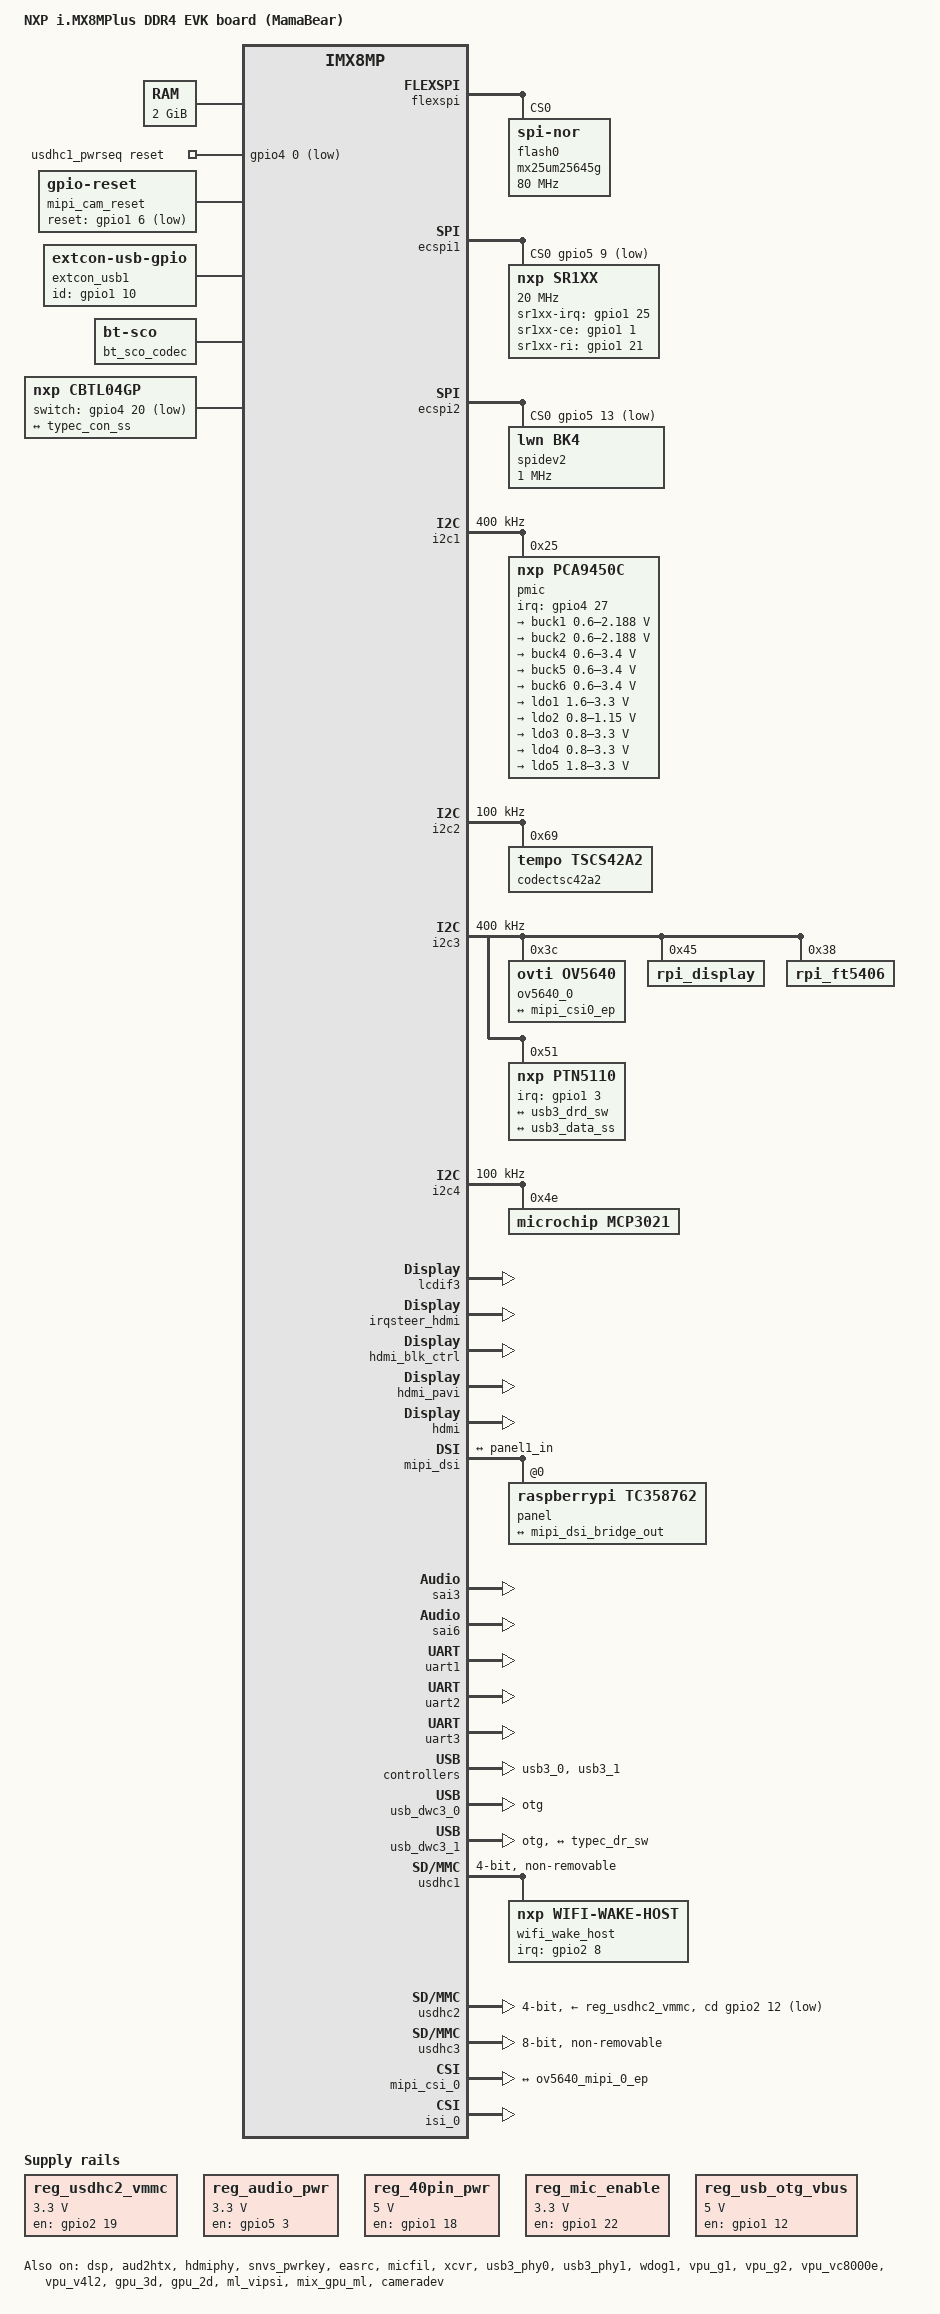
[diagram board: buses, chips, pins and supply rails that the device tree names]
// SPDX-License-Identifier: (GPL-2.0+ OR MIT)
/*
 * Copyright 2019 NXP
 * Copyright 2022 Future Electronics
 */

/dts-v1/;

#include <dt-bindings/usb/pd.h>
#include "imx8mp.dtsi"

/ {
	model = "NXP i.MX8MPlus DDR4 EVK board (MamaBear)";
	compatible = "fsl,imx8mp-evk", "fsl,imx8mp";

	chosen {
		stdout-path = &uart2;
	};

	memory@40000000 {
		device_type = "memory";
		reg = <0x0 0x40000000 0 0x80000000>;
	};


	reg_usdhc2_vmmc: regulator-usdhc2 {
		compatible = "regulator-fixed";
		pinctrl-names = "default";
		pinctrl-0 = <&pinctrl_reg_usdhc2_vmmc>;
		regulator-name = "VSD_3V3";
		regulator-min-microvolt = <3300000>;
		regulator-max-microvolt = <3300000>;
		gpio = <&gpio2 19 GPIO_ACTIVE_HIGH>;
		enable-active-high;
	};

//	reg_sd1_vmmc: sd1_regulator {
//		compatible = "regulator-fixed";
//		regulator-name = "WIFI_PWR_EN";
//		regulator-min-microvolt = <1800000>;
//		regulator-max-microvolt = <1800000>;
//		gpio = <&gpio3 6 GPIO_ACTIVE_HIGH>;
//		startup-delay-us = <100000>;
//		enable-active-high;
//		regulator-always-on;
//	};


	usdhc1_pwrseq: usdhc1_pwrseq {
		compatible = "mmc-pwrseq-simple";
//		pinctrl-names = "default";
//		pinctrl-0 = <&pinctrl_usdhc1_gpio>;
		reset-gpios = <&gpio4 0 GPIO_ACTIVE_LOW>;
		post-power-on-delay-ms = <80>;
	};
	
	reg_audio_pwr: regulator-audio-pwr {
		compatible = "regulator-fixed";
		regulator-name = "audio-pwr";
		regulator-min-microvolt = <3300000>;
		regulator-max-microvolt = <3300000>;
		gpio = <&gpio5 3 GPIO_ACTIVE_HIGH>;
		enable-active-high;
		regulator-always-on;
	};
	
	reg_40pin_pwr: regulator-40pin-pwr {
		compatible = "regulator-fixed";
		regulator-name = "40-pin-pwr";
		regulator-min-microvolt = <5000000>;
		regulator-max-microvolt = <5000000>;
		gpio = <&gpio1 18 GPIO_ACTIVE_HIGH>;
		enable-active-high;
		regulator-always-on;
	};

	reg_mic_enable: regulator-mic-enable {
		compatible = "regulator-fixed";
		regulator-name = "mic-enable";
	//	pinctrl-names = "default";
	//	pinctrl-0 = <&pinctrl_mic_enable>;
		regulator-min-microvolt = <3300000>;
		regulator-max-microvolt = <3300000>;
		gpio = <&gpio1 22 GPIO_ACTIVE_HIGH>;
		enable-active-high;
		regulator-always-on;
	};


//	bt_reg_on: regulator-bt-reg {
//		compatible = "regulator-fixed";
//		regulator-name = "BT_REG_ON";
//		regulator-min-microvolt = <1800000>;
//		regulator-max-microvolt = <1800000>;
//		gpio = <&gpio4 12 GPIO_ACTIVE_HIGH>;
//		startup-delay-us = <100>;
//		enable-active-high;
//		regulator-always-on;
//	}; 

//	modem_reset: modem-reset {
//		compatible = "gpio-reset";
//		reset-gpios = <&gpio4 12 GPIO_ACTIVE_LOW>;
//		reset-delay-us = <2000>;
//		reset-post-delay-ms = <40>;
//		#reset-cells = <0>;
//	};

	mipi_cam_reset: cam-reset {
		compatible = "gpio-reset";
		reset-gpios = <&gpio1 6 GPIO_ACTIVE_LOW>;
		reset-delay-us = <2000>;
		reset-post-delay-ms = <40>;
		#reset-cells = <0>;
	};

// TODO: get this set up for either xclk of mclk on the OV5640 to fix clocking issue.
//	 the clock on the digi module is 12MHz.  Need to determine if which one refers
//	 to the clock on the semsor module
//
//	ext_osc_12m: ext-osc-12m {
//		compatible = "fixed-clock";
//		#clock-cells = <0>;
//		clock-frequency = <12000000>;
//		clock-output-names = " "; //needs to be either xclk or mclk
//	};

	reg_usb_otg_vbus: regulator-usb-otg-vbus {
		compatible = "regulator-fixed";
		pinctrl-names = "default";
		pinctrl-0 = <&pinctrl_usb0_vbus>;
		regulator-name = "usb_otg_vbus";
		regulator-min-microvolt = <5000000>;
		regulator-max-microvolt = <5000000>;
		gpio = <&gpio1 12 GPIO_ACTIVE_HIGH>;
		enable-active-high;
	};
	
	extcon_usb1: extcon_usb1 {
		compatible = "linux,extcon-usb-gpio";
		pinctrl-names = "default";
		pinctrl-0 = <&pinctrl_extcon>;
		id-gpio = <&gpio1 10 GPIO_ACTIVE_HIGH>;
		status = "okay";
	};
	
//	reg_usb_c_vbus: regulator-usb-c-vbus {
//		compatible = "regulator-fixed";
//		pinctrl-names = "default";
//		pinctrl-0 = <&pinctrl_usb1_vbus>;
//		regulator-name = "usb_c_vbus";
//		regulator-min-microvolt = <5000000>;
//		regulator-max-microvolt = <5000000>;
//		gpio = <&gpio1 14 GPIO_ACTIVE_HIGH>;
//		enable-active-high;
//	};
	
	bt_sco_codec: bt_sco_codec {
		#sound-dai-cells = <1>;
		compatible = "linux,bt-sco";
	};

	sound-bt-sco {
		compatible = "simple-audio-card";
		simple-audio-card,name = "bt-sco-audio";
		simple-audio-card,format = "dsp_a";
		simple-audio-card,bitclock-inversion;
		simple-audio-card,frame-master = <&btcpu>;
		simple-audio-card,bitclock-master = <&btcpu>;

		btcpu: simple-audio-card,cpu {
			sound-dai = <&sai6>;
			dai-tdm-slot-num = <2>;
			dai-tdm-slot-width = <16>;
		};

		simple-audio-card,codec {
			sound-dai = <&bt_sco_codec 1>;
		};
	};

	sound {
		compatible = "simple-audio-card";
		simple-audio-card,name = "TSCS42A2-Sound-card";
		simple-audio-card,format = "i2s";
		simple-audio-card,bitclock-master = <&dailink0_master>;
		simple-audio-card,frame-master = <&dailink0_master>;
		simple-audio-card,widgets =
			"Speaker", "Speakers",
			"Headphone", "Headphones",
			"Microphone", "Analog Mic",
			"Microphone", "Digital Mic",
			"Line", "Line In";
		simple-audio-card,routing =
			"Headphones", "Headphone L",
			"Headphones", "Headphone R",
			"Speakers", "Speaker L",
			"Speakers", "Speaker R",
			"Line In 3 L", "Digital Mic",
			"Line In 3 R", "Digital Mic",
			"Digital Mic", "Digital Mic Enable",
			"Line In 1 L", "Analog Mic",
			"Line In 1 R", "Analog Mic",
			"Analog Mic", "Mic Bias",
			"Line In 2 L", "Line In",
			"Line In 2 R", "Line In";
		status = "okay";
		cpu_dai: simple-audio-card,cpu {
			sound-dai = <&sai3>;
			status = "okay";
		};
		dailink0_master: simple-audio-card,codec {
			sound-dai = <&codectsc42a2>;
	//		clocks = <&clk IMX8MP_CLK_SAI3>;
			clocks = <&audio_blk_ctrl IMX8MP_CLK_AUDIO_BLK_CTRL_SAI3_MCLK1>;
			status = "okay";
		};
	};

	sound-hdmi {
		compatible = "fsl,imx-audio-hdmi";
		model = "audio-hdmi";
		audio-cpu = <&aud2htx>;
		hdmi-out;
		constraint-rate = <44100>,
				<88200>,
				<176400>,
				<32000>,
				<48000>,
				<96000>,
				<192000>;
		status = "okay";
	};

	sound-micfil {
		compatible = "fsl,imx-audio-card";
		model = "imx-audio-micfil";
		pri-dai-link {
			link-name = "micfil hifi";
			format = "i2s";
			cpu {
				sound-dai = <&micfil>;
			};
		};
	};

	sound-xcvr {
		compatible = "fsl,imx-audio-card";
		model = "imx-audio-xcvr";
		pri-dai-link {
			link-name = "XCVR PCM";
			cpu {
				sound-dai = <&xcvr>;
			};
		};
	};

	cbtl04gp {
		compatible = "nxp,cbtl04gp";
		pinctrl-names = "default";
		pinctrl-0 = <&pinctrl_typec_mux>;
		switch-gpios = <&gpio4 20 GPIO_ACTIVE_LOW>;
		orientation-switch;

		port {
			usb3_data_ss: endpoint {
				remote-endpoint = <&typec_con_ss>;
			};
		};
	};
};

&{/power-domains} {
	/delete-node/ audiomix_pd;
};


&clk {
	assigned-clocks = <&clk IMX8MP_CLK_AUDIO_AHB>,
			  <&clk IMX8MP_CLK_AUDIO_AXI_SRC>,
			  <&clk IMX8MP_AUDIO_PLL1>,
			  <&clk IMX8MP_AUDIO_PLL2>,
			  <&clk IMX8MP_VIDEO_PLL1>;
	assigned-clock-parents = <&clk IMX8MP_SYS_PLL1_800M>,
				 <&clk IMX8MP_SYS_PLL3_OUT>;
	assigned-clock-rates = <400000000>,
			       <600000000>,
			       <393216000>,
			       <361267200>,
			       <1039500000>;
};

&{/reserved-memory} {
	linux,cma {
		size = <0 0x1e000000>;
		alloc-ranges = <0 0x40000000 0 0x80000000>;
	};
};

&flexspi {
	pinctrl-names = "default";
	pinctrl-0 = <&pinctrl_flexspi0>;
	status = "okay";

	flash0: mx25um25645g@0 {
		reg = <0>;
		#address-cells = <1>;
		#size-cells = <1>;
		compatible = "jedec,spi-nor";
		spi-max-frequency = <80000000>;
		spi-tx-bus-width = <1>;
		spi-rx-bus-width = <4>;
	};
};

&A53_0 {
	cpu-supply = <&buck2>;
};

&A53_1 {
	cpu-supply = <&buck2>;
};

&A53_2 {
	cpu-supply = <&buck2>;
};

&A53_3 {
	cpu-supply = <&buck2>;
};

&dsp {
	status = "okay";
};

&aud2htx {
	status = "okay";
};

&ecspi1 {
	#address-cells = <1>;
	#size-cells = <0>;
	fsl,spi-num-chipselects = <1>;
	pinctrl-names = "default";
	pinctrl-0 = <&pinctrl_ecspi1>;
	cs-gpios = <&gpio5 9 GPIO_ACTIVE_LOW>;
	status = "okay";

	sr1xx: sr1xx@0 {
		compatible = "nxp,sr1xx";
		reg = <0>;	/* CE0 */
		pinctrl-names = "default";
		pinctrl-0 = <&pinctrl_sr1xx>;
		nxp,sr1xx-irq-gpio = <&gpio1 25 0>;	//interrupt
		nxp,sr1xx-ce-gpio = <&gpio1 1 0>;	//UWB enable
		nxp,sr1xx-ri-gpio = <&gpio1 21 0>;	//read indicator
		spi-max-frequency = <20000000>;
        };
//  	spidev1: spidev@0 {
//		reg = <0>;
//		compatible = "lwn,bk4";
//		spi-max-frequency = <2000000>;
//	};
};

&ecspi2 {
	#address-cells = <1>;
	#size-cells = <0>;
	fsl,spi-num-chipselects = <1>;
	pinctrl-names = "default";
	pinctrl-0 = <&pinctrl_ecspi2>;
	cs-gpios = <&gpio5 13 GPIO_ACTIVE_LOW>;
	status = "okay";

	spidev2: spidev@0 {
		reg = <0>;
		compatible = "lwn,bk4";
		spi-max-frequency = <1000000>;
	};
   
};


&i2c1 {
	clock-frequency = <400000>;
	pinctrl-names = "default";
	pinctrl-0 = <&pinctrl_i2c1>;
	status = "okay";

	pmic@25 {
		compatible = "nxp,pca9450c";
		reg = <0x25>;
		pinctrl-names = "default";
		pinctrl-0 = <&pinctrl_pmic>;
		interrupt-parent = <&gpio4>;
		interrupts = <27 IRQ_TYPE_LEVEL_LOW>;

		regulators {
			buck1: BUCK1 {
				regulator-name = "BUCK1";
				regulator-min-microvolt = <600000>;
				regulator-max-microvolt = <2187500>;
				regulator-boot-on;
				regulator-always-on;
				regulator-ramp-delay = <3125>;
			};

			buck2: BUCK2 {
				regulator-name = "BUCK2";
				regulator-min-microvolt = <600000>;
				regulator-max-microvolt = <2187500>;
				regulator-boot-on;
				regulator-always-on;
				regulator-ramp-delay = <3125>;
				nxp,dvs-run-voltage = <950000>;
				nxp,dvs-standby-voltage = <850000>;
			};

			buck4: BUCK4{
				regulator-name = "BUCK4";
				regulator-min-microvolt = <600000>;
				regulator-max-microvolt = <3400000>;
				regulator-boot-on;
				regulator-always-on;
			};

			buck5: BUCK5{
				regulator-name = "BUCK5";
				regulator-min-microvolt = <600000>;
				regulator-max-microvolt = <3400000>;
				regulator-boot-on;
				regulator-always-on;
			};

			buck6: BUCK6 {
				regulator-name = "BUCK6";
				regulator-min-microvolt = <600000>;
				regulator-max-microvolt = <3400000>;
				regulator-boot-on;
				regulator-always-on;
			};

			ldo1: LDO1 {
				regulator-name = "LDO1";
				regulator-min-microvolt = <1600000>;
				regulator-max-microvolt = <3300000>;
				regulator-boot-on;
				regulator-always-on;
			};

			ldo2: LDO2 {
				regulator-name = "LDO2";
				regulator-min-microvolt = <800000>;
				regulator-max-microvolt = <1150000>;
				regulator-boot-on;
				regulator-always-on;
			};

			ldo3: LDO3 {
				regulator-name = "LDO3";
				regulator-min-microvolt = <800000>;
				regulator-max-microvolt = <3300000>;
				regulator-boot-on;
				regulator-always-on;
			};

			ldo4: LDO4 {
				regulator-name = "LDO4";
				regulator-min-microvolt = <800000>;
				regulator-max-microvolt = <3300000>;
				regulator-boot-on;
				regulator-always-on;
			};

			ldo5: LDO5 {
				regulator-name = "LDO5";
				regulator-min-microvolt = <1800000>;
				regulator-max-microvolt = <3300000>;
				regulator-boot-on;
				regulator-always-on;
			};
		};
	};
};

&i2c2 {
	clock-frequency = <100000>;
	pinctrl-names = "default";
	pinctrl-0 = <&pinctrl_i2c2>;
	status = "okay";

     	codectsc42a2: tscs42a2@69 {
		#sound-dai-cells = <0>;
		reg = <0x69>;
		compatible = "tempo,tscs42A2";
	//	clocks = <&clk IMX8MP_CLK_SAI3>;
		clocks = <&audio_blk_ctrl IMX8MP_CLK_AUDIO_BLK_CTRL_SAI3_MCLK1>;
		clock-names = "mclk2";
	//	reset-gpios = <&gpio5 3 GPIO_ACTIVE_LOW>; //this is controlled by reg_audio_pwr
		status = "okay";
	};
};

&i2c3 {
	clock-frequency = <400000>;
	pinctrl-names = "default";
	// TODO: FUTURE: verify pinctrl
	pinctrl-0 = <&pinctrl_i2c3>;
	status = "okay";

	ov5640_0: ov5640_mipi@3c {
		compatible = "ovti,ov5640";
		reg = <0x3c>;
		pinctrl-names = "default";
		pinctrl-0 = <&pinctrl_csi0_pwn>;
		clocks = <&clk IMX8MP_CLK_IPP_DO_CLKO2>;
		clock-names = "xclk";					//TODO: need to tie xclk or mclk in to &ext_osc_12m
		assigned-clocks = <&clk IMX8MP_CLK_IPP_DO_CLKO2>;	//Need to determine which one is a reference to the
		assigned-clock-parents = <&clk IMX8MP_CLK_24M>;	//12MHz clock on the MIPI camera module
		assigned-clock-rates = <24000000>;
		csi_id = <0>;
	//	powerdown-gpios = <&gpio1 6 GPIO_ACTIVE_LOW>;
	//	reset-gpios = <&gpio1 6 GPIO_ACTIVE_LOW>;
		reset = <&mipi_cam_reset>;
		mclk = <24000000>;
		mclk_source = <0>;
		mipi_csi;
		status = "okay";

		port {
			ov5640_mipi_0_ep: endpoint {
				remote-endpoint = <&mipi_csi0_ep>;
				data-lanes = <1 2>;
				clock-lanes = <0>;
			};
		};
	};
	rpi_display: rpi_display@45 {
		compatible = "rpi_display";
		reg = <0x45>;
	};

	rpi_ft5406: rpi_ft5406@38 {
		compatible = "rpi_ft5406";
		reg = <0x38>;
	};

	ptn5110: tcpc@51 {
		compatible = "nxp,ptn5110";
		pinctrl-names = "default";
		pinctrl-0 = <&pinctrl_typec>;
		reg = <0x51>;
		interrupt-parent = <&gpio1>;
		interrupts = <3 8>;

		port {
			typec_dr_sw: endpoint {
				remote-endpoint = <&usb3_drd_sw>;
			};
		};

		usb_con: connector {
			compatible = "usb-c-connector";
			label = "USB-C";
			power-role = "source";
			data-role = "dual";
			try-power-role = "source";
			source-pdos = <PDO_FIXED(5000, 918, PDO_FIXED_USB_COMM)>;
	//		sink-pdos = <PDO_FIXED(5000, 3000, PDO_FIXED_USB_COMM)
	//			     PDO_VAR(5000, 20000, 3000)>;
	//		op-sink-microwatt = <15000000>;
			self-powered;

			ports {
				#address-cells = <1>;
				#size-cells = <0>;

				port@1 {
					reg = <1>;
					typec_con_ss: endpoint {
						remote-endpoint = <&usb3_data_ss>;
					};
				};
			};
		};
	};
};

&i2c4 {
	#address-cells = <1>;
	#size-cells = <0>;
	clock-frequency = <100000>;
	pinctrl-names = "default";
	pinctrl-0 = <&pinctrl_i2c4>;
	status = "okay";
	
	mcp3021@4e {
		compatible = "microchip,mcp3021";
		reg = <0x4e>;
		
		reference-voltage-microvolt = <3300000>; // 3.3 V
		status = "okay";
	};
		
};

//MIPI-DSI interface
&lcdif1 {
	assigned-clocks = <&clk IMX8MP_CLK_MEDIA_DISP1_PIX>,
				<&clk IMX8MP_CLK_MEDIA_AXI>,
				<&clk IMX8MP_CLK_MEDIA_APB>;
	assigned-clock-parents = <&clk IMX8MP_VIDEO_PLL1_OUT>,
				<&clk IMX8MP_SYS_PLL1_800M>,
				<&clk IMX8MP_SYS_PLL1_800M>;
	assigned-clock-rates = <0>, <400000000>, <200000000>;
	
	status = "disabled";
};


//LVDS Interface
&lcdif2 {
	assigned-clocks = <&clk IMX8MP_CLK_MEDIA_DISP2_PIX>,
				<&clk IMX8MP_CLK_MEDIA_AXI>,
				<&clk IMX8MP_CLK_MEDIA_APB>;
	assigned-clock-parents = <&clk IMX8MP_VIDEO_PLL1_OUT>,
				<&clk IMX8MP_SYS_PLL1_800M>,
				<&clk IMX8MP_SYS_PLL1_800M>;
	assigned-clock-rates = <0>, <400000000>, <200000000>;
	status = "disabled";
};

// HDMI Interface
&lcdif3 {
	assigned-clocks = <&clk IMX8MP_CLK_MEDIA_DISP2_PIX>,
				<&clk IMX8MP_CLK_MEDIA_AXI>,
				<&clk IMX8MP_CLK_MEDIA_APB>;
	assigned-clock-parents = <&clk IMX8MP_VIDEO_PLL1_OUT>,
				<&clk IMX8MP_SYS_PLL1_800M>,
				<&clk IMX8MP_SYS_PLL1_800M>;
	assigned-clock-rates = <0>, <400000000>, <200000000>;
	status = "okay";
	thres-low  = <2 3>;             /* (FIFO * 2 / 3) */
	thres-high = <3 3>;             /* (FIFO * 3 / 3) */
};


&ldb {
	status = "disabled";
};

&ldb_phy {
	status = "disabled";
};
&irqsteer_hdmi {
	status = "okay";
};

&hdmi_blk_ctrl {
	status = "okay";
};

&hdmi_pavi {
	status = "okay";
};

&hdmi {
	status = "okay";
};

&hdmiphy {
	status = "okay";
};



// raspi 7" MIPI display
&mipi_dsi {
	status = "okay";

	panel@0 {
		compatible = "raspberrypi,tc358762";
		reg = <0>;
		dsi-lanes = <1>;
		video-mode = <2>;
		panel-width-mm = <154>;
		panel-height-mm = <86>;

		port {
			panel1_in: endpoint {
				remote-endpoint = <&mipi_dsi_bridge_out>;
			};
		};
	};

	port@1 {
		reg = <1>;

		mipi_dsi_bridge_out: endpoint {
			remote-endpoint = <&panel1_in>;
			attach-bridge;
		};
	};
};

&snvs_pwrkey {
	status = "okay";
};

&easrc {
	fsl,asrc-rate  = <48000>;
	status = "okay";
};

&micfil {
	#sound-dai-cells = <0>;
	pinctrl-names = "default";
	pinctrl-0 = <&pinctrl_pdm>;
	assigned-clocks = <&clk IMX8MP_CLK_PDM>;
	assigned-clock-parents = <&clk IMX8MP_AUDIO_PLL1_OUT>;
	assigned-clock-rates = <196608000>;
	status = "okay";
};

&sai3 {
	#sound-dai-cells = <0>;
	pinctrl-names = "default";
	pinctrl-0 = <&pinctrl_sai3>;
	assigned-clocks = <&clk IMX8MP_CLK_SAI3>;
	assigned-clock-parents = <&clk IMX8MP_AUDIO_PLL1_OUT>;
	assigned-clock-rates = <12288000>;
//	reset-gpios = <&gpio5 3 GPIO_ACTIVE_LOW>;
	fsl,sai-mclk-direction-output;
	/delete-property/ power-domains;
	status = "okay";
};

&sai6 {
	#sound-dai-cells = <0>;
	pinctrl-names = "default";
	pinctrl-0 = <&pinctrl_sai6>;
	assigned-clocks = <&clk IMX8MP_CLK_SAI6>;
	assigned-clock-parents = <&clk IMX8MP_AUDIO_PLL1_OUT>;
	assigned-clock-rates = <12288000>;
	status = "okay";
};

&xcvr {
	#sound-dai-cells = <0>;
	status = "okay";
};

&sdma2 {
	status = "okay";
};

&uart1 { /* BT */
	pinctrl-names = "default";
	pinctrl-0 = <&pinctrl_uart1>;
	assigned-clocks = <&clk IMX8MP_CLK_UART1>;
	assigned-clock-parents = <&clk IMX8MP_SYS_PLL1_80M>;
	fsl,uart-has-rtscts;
//	resets = <&modem_reset>;
	pinctrl-assert-gpios = <&gpio4 12 GPIO_ACTIVE_HIGH>;
	status = "okay";
};


&uart2 {
	/* console */
	pinctrl-names = "default";
	pinctrl-0 = <&pinctrl_uart2>;
	status = "okay";
};

&uart3 { 
	pinctrl-names = "default";
	pinctrl-0 = <&pinctrl_uart3>;
	assigned-clocks = <&clk IMX8MP_CLK_UART3>;
	assigned-clock-parents = <&clk IMX8MP_SYS_PLL1_80M>;
//	fsl,uart-has-rtscts;
	fsl,dte-mode;
	status = "okay";
};

&usb3_phy0 {
	vbus-supply = <&reg_usb_otg_vbus>;
	status = "okay";
};

&usb3_0 {
	status = "okay";
	fsl,over-current-active-low;
};

&usb_dwc3_0 {
	pinctrl-names = "default";
	pinctrl-0 = <&pinctrl_usb0>;
	dr_mode = "otg";
	hnp-disable;
	srp-disable;
	adp-disable;
	extcon = <&extcon_usb1>;

	maximum-speed = "high-speed";	
	assigned-clocks = <&clk IMX8MP_CLK_HSIO_AXI>;
	assigned-clock-parents = <&clk IMX8MP_SYS_PLL1_800M>;

	assigned-clock-rates = <400000000>;

	status = "okay";
};

&usb3_phy1 {
//	vbus-supply = <&reg_usb_c_vbus>;
	fsl,phy-tx-vref-tune = <0xe>;
	fsl,phy-tx-preemp-amp-tune = <3>;
	fsl,phy-tx-vboost-level = <5>;
	fsl,phy-comp-dis-tune = <7>;
	fsl,pcs-tx-deemph-3p5db = <0x21>;
	fsl,phy-pcs-tx-swing-full = <0x7f>;
	status = "okay";
};

&usb3_1 {
	status = "okay";
};

&usb_dwc3_1 {
	assigned-clocks = <&clk IMX8MP_CLK_HSIO_AXI>;
	assigned-clock-parents = <&clk IMX8MP_SYS_PLL1_800M>;
	assigned-clock-rates = <400000000>;

//Host only settings
//	dr_mode = "host";
//	hnp-disable;
//	srp-disable;
//	adp-disable;
//	snps,dis-u1-entry-quirk;
//	snps,dis-u2-entry-quirk;
//	status = "okay";


//Dual role settings
	dr_mode = "otg";
	hnp-disable;
	srp-disable;
	adp-disable;
	usb-role-switch;
	role-switch-default-mode = "none";
	snps,dis-u1-entry-quirk;
	snps,dis-u2-entry-quirk;
	status = "okay";
	
	port {
		usb3_drd_sw: endpoint {
			remote-endpoint = <&typec_dr_sw>;
		};
	};
};


&usdhc1 {
	pinctrl-names = "default", "state_100mhz", "state_200mhz";
	pinctrl-0 = <&pinctrl_usdhc1>, <&pinctrl_usdhc1_wlan>;
	pinctrl-1 = <&pinctrl_usdhc1_100mhz>, <&pinctrl_usdhc1_wlan>;
	pinctrl-2 = <&pinctrl_usdhc1_200mhz>, <&pinctrl_usdhc1_wlan>;
	mmc-pwrseq = <&usdhc1_pwrseq>;
	pinctrl-assert-gpios = <&gpio4 13 GPIO_ACTIVE_HIGH>;
	bus-width = <4>;
	keep-power-in-suspend;
	non-removable;
	wakeup-source;
	fsl,sdio-async-interrupt-enabled;
	status = "okay";
	
	wifi_wake_host {
		compatible = "nxp,wifi-wake-host";
		interrupt-parent = <&gpio2>;
		interrupts = <8 IRQ_TYPE_LEVEL_LOW>;
		interrupt-names = "host-wake";
	};
};

&usdhc2 {
	assigned-clocks = <&clk IMX8MP_CLK_USDHC2>;
	assigned-clock-rates = <400000000>;
	pinctrl-names = "default", "state_100mhz", "state_200mhz";
	pinctrl-0 = <&pinctrl_usdhc2>, <&pinctrl_usdhc2_gpio>;
	pinctrl-1 = <&pinctrl_usdhc2_100mhz>, <&pinctrl_usdhc2_gpio>;
	pinctrl-2 = <&pinctrl_usdhc2_200mhz>, <&pinctrl_usdhc2_gpio>;
	vmmc-supply = <&reg_usdhc2_vmmc>;
	cd-gpios = <&gpio2 12 GPIO_ACTIVE_LOW>;
	bus-width = <4>;
	no-1-8-v;
	status = "okay";
};

&usdhc3 {
	assigned-clocks = <&clk IMX8MP_CLK_USDHC3>;
	assigned-clock-rates = <400000000>;
	pinctrl-names = "default", "state_100mhz", "state_200mhz";
	pinctrl-0 = <&pinctrl_usdhc3>;
	pinctrl-1 = <&pinctrl_usdhc3_100mhz>;
	pinctrl-2 = <&pinctrl_usdhc3_200mhz>;
	bus-width = <8>;
	non-removable;
	status = "okay";
};

&wdog1 {
	pinctrl-names = "default";
	pinctrl-0 = <&pinctrl_wdog>;
	fsl,ext-reset-output;
	status = "okay";
};

&iomuxc {
	pinctrl-names = "default";
	pinctrl-0 = <&pinctrl_hog>;

	pinctrl_hog: hoggrp {
		fsl,pins = <
			MX8MP_IOMUXC_HDMI_DDC_SCL__HDMIMIX_HDMI_SCL	0x400001c3
			MX8MP_IOMUXC_HDMI_DDC_SDA__HDMIMIX_HDMI_SDA	0x400001c3
			MX8MP_IOMUXC_HDMI_HPD__HDMIMIX_HDMI_HPD		0x40000019
			MX8MP_IOMUXC_HDMI_CEC__HDMIMIX_HDMI_CEC		0x40000019
	//		MX8MP_IOMUXC_GPIO1_IO01__ANAMIX_REF_CLK_24M 	0x16
	//		MX8MP_IOMUXC_SAI1_TXD7__GPIO4_IO19 		0x106

		>;
	};

	pinctrl_ecspi1: ecspi1grp {
		fsl,pins = <
			MX8MP_IOMUXC_ECSPI1_SCLK__ECSPI1_SCLK		0x82
			MX8MP_IOMUXC_ECSPI1_MOSI__ECSPI1_MOSI		0x82
			MX8MP_IOMUXC_ECSPI1_MISO__ECSPI1_MISO		0x82
			MX8MP_IOMUXC_ECSPI1_SS0__GPIO5_IO09 		0x40000
		>;
	};

	pinctrl_ecspi2: ecspi2grp {
		fsl,pins = <
			MX8MP_IOMUXC_ECSPI2_SCLK__ECSPI2_SCLK		0x82
			MX8MP_IOMUXC_ECSPI2_MOSI__ECSPI2_MOSI		0x82
			MX8MP_IOMUXC_ECSPI2_MISO__ECSPI2_MISO		0x82
			MX8MP_IOMUXC_ECSPI2_SS0__GPIO5_IO13		0x40000
		>;
	};

	pinctrl_extcon: extcongrp {
		fsl,pins = <
			MX8MP_IOMUXC_GPIO1_IO10__GPIO1_IO10		0x10
		>;
	};


	pinctrl_flexspi0: flexspi0grp {
		fsl,pins = <
			MX8MP_IOMUXC_NAND_ALE__FLEXSPI_A_SCLK           0x1c2
			MX8MP_IOMUXC_NAND_CE0_B__FLEXSPI_A_SS0_B        0x82
			MX8MP_IOMUXC_NAND_DATA00__FLEXSPI_A_DATA00      0x82
			MX8MP_IOMUXC_NAND_DATA01__FLEXSPI_A_DATA01      0x82
			MX8MP_IOMUXC_NAND_DATA02__FLEXSPI_A_DATA02      0x82
			MX8MP_IOMUXC_NAND_DATA03__FLEXSPI_A_DATA03      0x82
		>;
	};
	
	pinctrl_i2c1: i2c1grp {
		fsl,pins = <
			MX8MP_IOMUXC_I2C1_SCL__I2C1_SCL		0x400001c2
			MX8MP_IOMUXC_I2C1_SDA__I2C1_SDA		0x400001c2
		>;
	};

	pinctrl_i2c2: i2c2grp {
		fsl,pins = <
			MX8MP_IOMUXC_I2C2_SCL__I2C2_SCL		0x400001c3
			MX8MP_IOMUXC_I2C2_SDA__I2C2_SDA		0x400001c3
		>;
	};

	pinctrl_i2c3: i2c3grp {
		fsl,pins = <
			MX8MP_IOMUXC_I2C3_SCL__I2C3_SCL		0x400001c2
			MX8MP_IOMUXC_I2C3_SDA__I2C3_SDA		0x400001c2
		>;
	};

	pinctrl_i2c4: i2c4grp {
		fsl,pins = <
			MX8MP_IOMUXC_I2C4_SCL__I2C4_SCL		0x400001c2
			MX8MP_IOMUXC_I2C4_SDA__I2C4_SDA		0x400001c2
		>;
	};



	pinctrl_pmic: pmicgrp {
		fsl,pins = <
			MX8MP_IOMUXC_SAI2_MCLK__GPIO4_IO27	0x000001c0
		>;
	};

	pinctrl_reg_usdhc2_vmmc: regusdhc2vmmcgrp {
		fsl,pins = <
			MX8MP_IOMUXC_SD2_RESET_B__GPIO2_IO19	0x41
		>;
	};

	pinctrl_pdm: pdmgrp {
		fsl,pins = <
			MX8MP_IOMUXC_SAI5_RXC__AUDIOMIX_PDM_CLK		0xd6
			MX8MP_IOMUXC_SAI5_RXD0__AUDIOMIX_PDM_BIT_STREAM00	0xd6
			MX8MP_IOMUXC_SAI5_RXD1__AUDIOMIX_PDM_BIT_STREAM01	0xd6
			MX8MP_IOMUXC_SAI5_RXD2__AUDIOMIX_PDM_BIT_STREAM02	0xd6
		>;
	};


	pinctrl_sai3: sai3grp {
		fsl,pins = <
			MX8MP_IOMUXC_SAI3_TXFS__AUDIOMIX_SAI3_TX_SYNC		0xd6
			MX8MP_IOMUXC_SAI3_TXC__AUDIOMIX_SAI3_TX_BCLK		0xd6
			MX8MP_IOMUXC_SAI3_RXD__AUDIOMIX_SAI3_RX_DATA00	0xd6
			MX8MP_IOMUXC_SAI3_TXD__AUDIOMIX_SAI3_TX_DATA00	0xd6
			MX8MP_IOMUXC_SAI3_MCLK__AUDIOMIX_SAI3_MCLK		0xd4
			MX8MP_IOMUXC_SPDIF_TX__GPIO5_IO03			0xd6
			MX8MP_IOMUXC_SAI3_RXFS__AUDIOMIX_SAI3_RX_SYNC		0xd6
			MX8MP_IOMUXC_SAI3_RXC__AUDIOMIX_SAI3_RX_BCLK		0xd6
		>;
	};

	pinctrl_sai6: sai6grp {
		fsl,pins = <
			MX8MP_IOMUXC_SAI1_RXD4__AUDIOMIX_SAI6_TX_BCLK 	0xd6
			MX8MP_IOMUXC_SAI1_RXD6__AUDIOMIX_SAI6_TX_SYNC		0xd6
			MX8MP_IOMUXC_SAI1_RXD7__AUDIOMIX_SAI6_MCLK		0xd4
			MX8MP_IOMUXC_SAI1_RXD5__AUDIOMIX_SAI6_RX_DATA00	0xd6
		>;
	};

	pinctrl_sr1xx: sr1xxgrp {
		fsl,pins = <
			MX8MP_IOMUXC_ENET_RXC__GPIO1_IO25	0x19
			MX8MP_IOMUXC_GPIO1_IO01__GPIO1_IO01	0x19
			MX8MP_IOMUXC_ENET_TD0__GPIO1_IO21	0x19
		>;
	};
				
	pinctrl_typec: typec1grp {
		fsl,pins = <
			MX8MP_IOMUXC_GPIO1_IO03__GPIO1_IO03	0x1c4
		>;
	};
		
	pinctrl_typec_mux: typec1muxgrp {
		fsl,pins = <
			MX8MP_IOMUXC_SAI1_MCLK__GPIO4_IO20	0x16
		>;
	};


	pinctrl_uart1: uart1grp {
		fsl,pins = <
			MX8MP_IOMUXC_UART1_RXD__UART1_DCE_RX	0x140
			MX8MP_IOMUXC_UART1_TXD__UART1_DCE_TX	0x140
			MX8MP_IOMUXC_SAI2_RXD0__UART1_DCE_RTS 0x140 
			MX8MP_IOMUXC_SAI2_TXFS__UART1_DCE_CTS 0x140 
		>;
	};

	pinctrl_uart2: uart2grp {
		fsl,pins = <
			MX8MP_IOMUXC_UART2_RXD__UART2_DCE_RX	0x140
			MX8MP_IOMUXC_UART2_TXD__UART2_DCE_TX	0x140
		>;
	};

	pinctrl_uart3: uart3grp {
		fsl,pins = <
			MX8MP_IOMUXC_UART3_RXD__UART3_DTE_TX   0x140	
			MX8MP_IOMUXC_UART3_TXD__UART3_DTE_RX 	0x140	
		>;
	};

	pinctrl_usb0_vbus: usb0vbusgrp {
		fsl,pins = <
			MX8MP_IOMUXC_GPIO1_IO12__USB1_PWR		0x19	//USB0 Power enable
		>;
	};	

	pinctrl_usb0: usb0grp {
		fsl,pins = <
			MX8MP_IOMUXC_GPIO1_IO13__USB1_OC 		0x19	// Over current IRQ pin - active low
		>;
	};

//	pinctrl_usb1_vbus: usb1grp {
//		fsl,pins = <
//			MX8MP_IOMUXC_GPIO1_IO14__USB2_PWR		0x19	//USB1 Power Enable
//		>;
//	};


	pinctrl_usdhc1: usdhc1grp {
		fsl,pins = <
			MX8MP_IOMUXC_SD1_CLK__USDHC1_CLK	0x190
			MX8MP_IOMUXC_SD1_CMD__USDHC1_CMD	0x1d0
			MX8MP_IOMUXC_SD1_DATA0__USDHC1_DATA0	0x1d0
			MX8MP_IOMUXC_SD1_DATA1__USDHC1_DATA1	0x1d0
			MX8MP_IOMUXC_SD1_DATA2__USDHC1_DATA2	0x1d0
			MX8MP_IOMUXC_SD1_DATA3__USDHC1_DATA3	0x1d0
		>;
	};

	pinctrl_usdhc1_100mhz: usdhc1-100mhzgrp {
		fsl,pins = <
			MX8MP_IOMUXC_SD1_CLK__USDHC1_CLK	0x194
			MX8MP_IOMUXC_SD1_CMD__USDHC1_CMD	0x1d4
			MX8MP_IOMUXC_SD1_DATA0__USDHC1_DATA0	0x1d4
			MX8MP_IOMUXC_SD1_DATA1__USDHC1_DATA1	0x1d4
			MX8MP_IOMUXC_SD1_DATA2__USDHC1_DATA2	0x1d4
			MX8MP_IOMUXC_SD1_DATA3__USDHC1_DATA3	0x1d4
		>;
	};

	pinctrl_usdhc1_200mhz: usdhc1-200mhzgrp {
		fsl,pins = <
			MX8MP_IOMUXC_SD1_CLK__USDHC1_CLK	0x196
			MX8MP_IOMUXC_SD1_CMD__USDHC1_CMD	0x1d6
			MX8MP_IOMUXC_SD1_DATA0__USDHC1_DATA0	0x1d6
			MX8MP_IOMUXC_SD1_DATA1__USDHC1_DATA1	0x1d6
			MX8MP_IOMUXC_SD1_DATA2__USDHC1_DATA2	0x1d6
			MX8MP_IOMUXC_SD1_DATA3__USDHC1_DATA3	0x1d6
		>;
	};

	pinctrl_usdhc1_wlan: usdhc1gpiogrp {
		fsl,pins = <
			MX8MP_IOMUXC_SD1_DATA6__GPIO2_IO08	0x1c4
			MX8MP_IOMUXC_SAI1_RXFS__GPIO4_IO00	0x1c4
			MX8MP_IOMUXC_SAI1_TXD1__GPIO4_IO13	0x1c4
		>;
	};

	pinctrl_usdhc2: usdhc2grp {
		fsl,pins = <
			MX8MP_IOMUXC_SD2_CLK__USDHC2_CLK	0x190
			MX8MP_IOMUXC_SD2_CMD__USDHC2_CMD	0x1d0
			MX8MP_IOMUXC_SD2_DATA0__USDHC2_DATA0	0x1d0
			MX8MP_IOMUXC_SD2_DATA1__USDHC2_DATA1	0x1d0
			MX8MP_IOMUXC_SD2_DATA2__USDHC2_DATA2	0x1d0
			MX8MP_IOMUXC_SD2_DATA3__USDHC2_DATA3	0x1d0
			MX8MP_IOMUXC_GPIO1_IO04__USDHC2_VSELECT	0xc0
		>;
	};

	pinctrl_usdhc2_100mhz: usdhc2-100mhzgrp {
		fsl,pins = <
			MX8MP_IOMUXC_SD2_CLK__USDHC2_CLK	0x194
			MX8MP_IOMUXC_SD2_CMD__USDHC2_CMD	0x1d4
			MX8MP_IOMUXC_SD2_DATA0__USDHC2_DATA0	0x1d4
			MX8MP_IOMUXC_SD2_DATA1__USDHC2_DATA1	0x1d4
			MX8MP_IOMUXC_SD2_DATA2__USDHC2_DATA2	0x1d4
			MX8MP_IOMUXC_SD2_DATA3__USDHC2_DATA3	0x1d4
			MX8MP_IOMUXC_GPIO1_IO04__USDHC2_VSELECT 0xc0
		>;
	};

	pinctrl_usdhc2_200mhz: usdhc2-200mhzgrp {
		fsl,pins = <
			MX8MP_IOMUXC_SD2_CLK__USDHC2_CLK	0x196
			MX8MP_IOMUXC_SD2_CMD__USDHC2_CMD	0x1d6
			MX8MP_IOMUXC_SD2_DATA0__USDHC2_DATA0	0x1d6
			MX8MP_IOMUXC_SD2_DATA1__USDHC2_DATA1	0x1d6
			MX8MP_IOMUXC_SD2_DATA2__USDHC2_DATA2	0x1d6
			MX8MP_IOMUXC_SD2_DATA3__USDHC2_DATA3	0x1d6
			MX8MP_IOMUXC_GPIO1_IO04__USDHC2_VSELECT 0xc0
		>;
	};

	pinctrl_usdhc2_gpio: usdhc2gpiogrp {
		fsl,pins = <
			MX8MP_IOMUXC_SD2_CD_B__GPIO2_IO12	0x1c4
		>;
	};

	pinctrl_usdhc3: usdhc3grp {
		fsl,pins = <
			MX8MP_IOMUXC_NAND_WE_B__USDHC3_CLK	0x190
			MX8MP_IOMUXC_NAND_WP_B__USDHC3_CMD	0x1d0
			MX8MP_IOMUXC_NAND_DATA04__USDHC3_DATA0	0x1d0
			MX8MP_IOMUXC_NAND_DATA05__USDHC3_DATA1	0x1d0
			MX8MP_IOMUXC_NAND_DATA06__USDHC3_DATA2	0x1d0
			MX8MP_IOMUXC_NAND_DATA07__USDHC3_DATA3	0x1d0
			MX8MP_IOMUXC_NAND_RE_B__USDHC3_DATA4	0x1d0
			MX8MP_IOMUXC_NAND_CE2_B__USDHC3_DATA5	0x1d0
			MX8MP_IOMUXC_NAND_CE3_B__USDHC3_DATA6	0x1d0
			MX8MP_IOMUXC_NAND_CLE__USDHC3_DATA7	0x1d0
			MX8MP_IOMUXC_NAND_CE1_B__USDHC3_STROBE	0x190
		>;
	};

	pinctrl_usdhc3_100mhz: usdhc3-100mhzgrp {
		fsl,pins = <
			MX8MP_IOMUXC_NAND_WE_B__USDHC3_CLK	0x194
			MX8MP_IOMUXC_NAND_WP_B__USDHC3_CMD	0x1d4
			MX8MP_IOMUXC_NAND_DATA04__USDHC3_DATA0	0x1d4
			MX8MP_IOMUXC_NAND_DATA05__USDHC3_DATA1	0x1d4
			MX8MP_IOMUXC_NAND_DATA06__USDHC3_DATA2	0x1d4
			MX8MP_IOMUXC_NAND_DATA07__USDHC3_DATA3	0x1d4
			MX8MP_IOMUXC_NAND_RE_B__USDHC3_DATA4	0x1d4
			MX8MP_IOMUXC_NAND_CE2_B__USDHC3_DATA5	0x1d4
			MX8MP_IOMUXC_NAND_CE3_B__USDHC3_DATA6	0x1d4
			MX8MP_IOMUXC_NAND_CLE__USDHC3_DATA7	0x1d4
			MX8MP_IOMUXC_NAND_CE1_B__USDHC3_STROBE	0x194
		>;
	};

	pinctrl_usdhc3_200mhz: usdhc3-200mhzgrp {
		fsl,pins = <
			MX8MP_IOMUXC_NAND_WE_B__USDHC3_CLK	0x196
			MX8MP_IOMUXC_NAND_WP_B__USDHC3_CMD	0x1d6
			MX8MP_IOMUXC_NAND_DATA04__USDHC3_DATA0	0x1d6
			MX8MP_IOMUXC_NAND_DATA05__USDHC3_DATA1	0x1d6
			MX8MP_IOMUXC_NAND_DATA06__USDHC3_DATA2	0x1d6
			MX8MP_IOMUXC_NAND_DATA07__USDHC3_DATA3	0x1d6
			MX8MP_IOMUXC_NAND_RE_B__USDHC3_DATA4	0x1d6
			MX8MP_IOMUXC_NAND_CE2_B__USDHC3_DATA5	0x1d6
			MX8MP_IOMUXC_NAND_CE3_B__USDHC3_DATA6	0x1d6
			MX8MP_IOMUXC_NAND_CLE__USDHC3_DATA7	0x1d6
			MX8MP_IOMUXC_NAND_CE1_B__USDHC3_STROBE	0x196
		>;
	};

	pinctrl_wdog: wdoggrp {
		fsl,pins = <
			MX8MP_IOMUXC_GPIO1_IO02__WDOG1_WDOG_B	0x166
		>;
	};

	
	pinctrl_csi0_pwn: csi0_pwn_grp {
		fsl,pins = <
			MX8MP_IOMUXC_GPIO1_IO06__GPIO1_IO06	0x15f
		>;
	};

};

&vpu_g1 {
	assigned-clocks = <&clk IMX8MP_VPU_PLL>, <&clk IMX8MP_CLK_VPU_G1>, <&clk IMX8MP_CLK_VPU_BUS>;
	assigned-clock-parents = <0>, <&clk IMX8MP_VPU_PLL_OUT>, <&clk IMX8MP_VPU_PLL_OUT>;
	assigned-clock-rates = <600000000>, <600000000>, <600000000>;

	status = "okay";
};

&vpu_g2 {
	assigned-clocks = <&clk IMX8MP_CLK_VPU_G2>, <&clk IMX8MP_CLK_VPU_BUS>;
	assigned-clock-parents = <&clk IMX8MP_SYS_PLL2_1000M>, <&clk IMX8MP_VPU_PLL_OUT>;
	assigned-clock-rates = <500000000>, <600000000>;
	status = "okay";
};

&vpu_vc8000e {
	assigned-clocks = <&clk IMX8MP_CLK_VPU_VC8000E>,<&clk IMX8MP_CLK_VPU_BUS>;
	assigned-clock-parents = <&clk IMX8MP_SYS_PLL1_800M>, <&clk IMX8MP_VPU_PLL_OUT>;
	assigned-clock-rates = <400000000>, <600000000>;
	status = "okay";
};

&vpu_v4l2 {
	status = "okay";
};

&gpu_3d {
	assigned-clocks = <&clk IMX8MP_CLK_GPU3D_CORE>,
			  <&clk IMX8MP_CLK_GPU3D_SHADER_CORE>,
			  <&clk IMX8MP_CLK_GPU_AXI>,
			  <&clk IMX8MP_CLK_GPU_AHB>,
			  <&clk IMX8MP_GPU_PLL>;
	assigned-clock-parents = <&clk IMX8MP_SYS_PLL1_800M>,
				 <&clk IMX8MP_SYS_PLL1_800M>,
				 <&clk IMX8MP_GPU_PLL_OUT>,
				 <&clk IMX8MP_SYS_PLL1_800M>;
	assigned-clock-rates = <800000000>, <800000000>,
			       <600000000>, <300000000>,
			       <600000000>;
	status = "okay";
};

&gpu_2d {
	assigned-clocks = <&clk IMX8MP_CLK_GPU2D_CORE>,
			  <&clk IMX8MP_CLK_GPU_AXI>,
			  <&clk IMX8MP_CLK_GPU_AHB>,
			  <&clk IMX8MP_GPU_PLL>;
	assigned-clock-parents = <&clk IMX8MP_SYS_PLL1_800M>,
				 <&clk IMX8MP_GPU_PLL_OUT>,
				 <&clk IMX8MP_GPU_PLL_OUT>;
	assigned-clock-rates = <800000000>, <600000000>,
			       <300000000>, <600000000>;
	status = "okay";
};

&ml_vipsi {
	assigned-clocks = <&clk IMX8MP_CLK_ML_CORE>,
			  <&clk IMX8MP_CLK_ML_AXI>,
			  <&clk IMX8MP_CLK_ML_AHB>;
	assigned-clock-parents = <&clk IMX8MP_SYS_PLL1_800M>,
				 <&clk IMX8MP_SYS_PLL1_800M>,
				 <&clk IMX8MP_GPU_PLL_OUT>;
	assigned-clock-rates = <800000000>, <800000000>, <300000000>;
	status = "okay";
};

&mix_gpu_ml {
	status = "okay";
};

&mipi_csi_0 {
	// TODO: FUTURE: validate clocks
	assigned-clocks = <&clk IMX8MP_CLK_MEDIA_CAM1_PIX>;
	assigned-clock-parents = <&clk IMX8MP_SYS_PLL1_800M>;
	assigned-clock-rates = <400000000>;

	#address-cells = <1>;
	#size-cells = <0>;
	status = "okay";

	// TODO: FUTURE: validate port
	port@0 {
		reg = <0>;
		mipi_csi0_ep: endpoint {
			remote-endpoint = <&ov5640_mipi_0_ep>;
			// TODO: FUTURE: validate bus spec
			data-lanes = <2>;
			csis-hs-settle = <13>;
			csis-clk-settle = <2>;
			csis-wclk;
		};
	};
};

&mipi_csi_1 {
	#address-cells = <1>;
	#size-cells = <0>;
	status = "disabled";
};

&cameradev {
	status = "okay";
};

&isi_0 {
	assigned-clocks = <&clk IMX8MP_CLK_MEDIA_AXI_ROOT>,
			  <&clk IMX8MP_CLK_MEDIA_APB_ROOT>;
	assigned-clock-rates = <400000000>, <200000000>;
	status = "okay";

	cap_device {
		status = "okay";
	};

	m2m_device {
		status = "okay";
	};
};

&isi_1 {
	assigned-clocks = <&clk IMX8MP_CLK_MEDIA_AXI_ROOT>,
			  <&clk IMX8MP_CLK_MEDIA_APB_ROOT>;
	assigned-clock-rates = <400000000>, <200000000>;
	status = "disabled";

	cap_device {
		status = "okay";
	};
};

&isp_0 {
	assigned-clocks = <&clk IMX8MP_CLK_MEDIA_ISP>;
	assigned-clock-parents = <&clk IMX8MP_SYS_PLL1_800M>;
	assigned-clock-rates = <400000000>;
};

&isp_1 {
	assigned-clocks = <&clk IMX8MP_CLK_MEDIA_ISP>;
	assigned-clock-parents = <&clk IMX8MP_SYS_PLL1_800M>;
	assigned-clock-rates = <400000000>;
};
